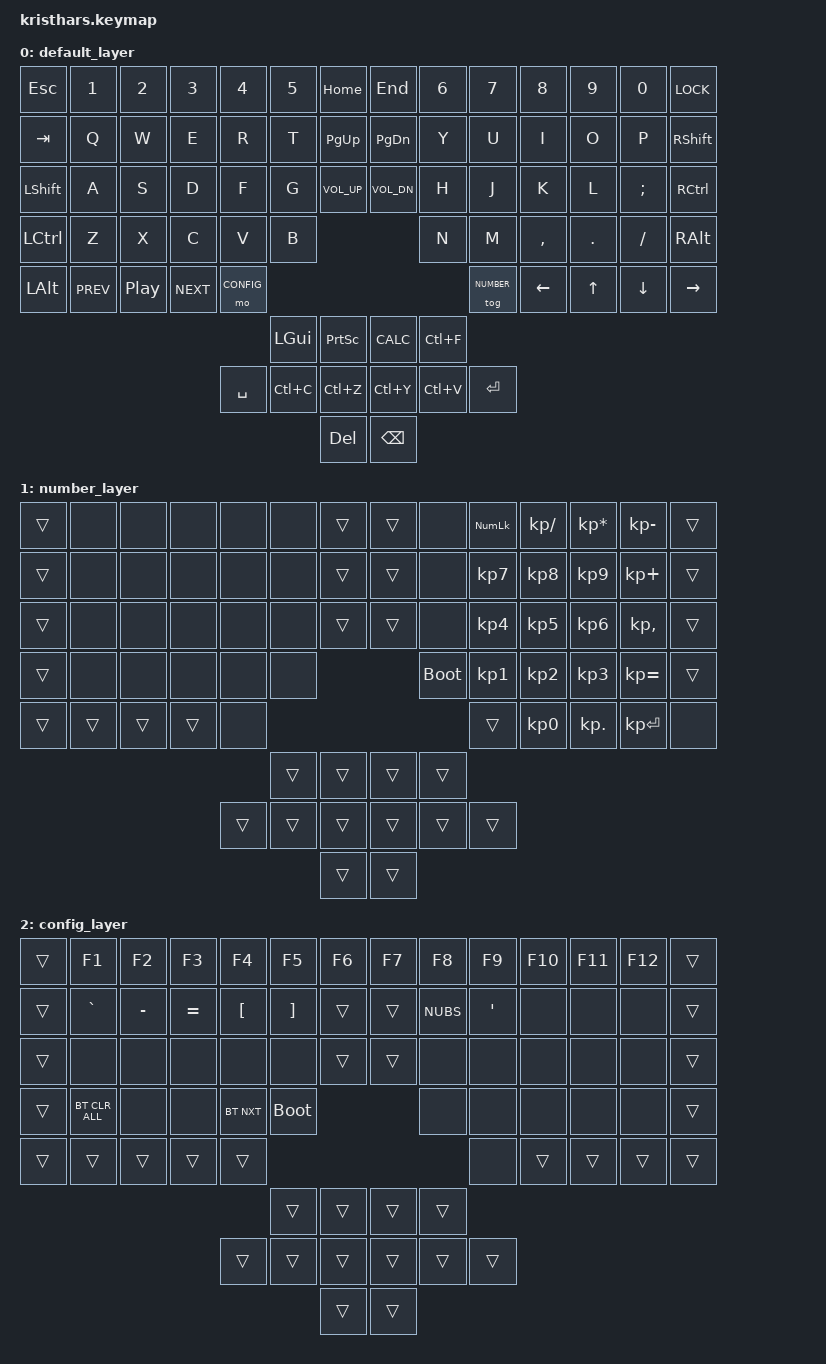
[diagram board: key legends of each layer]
// Kristhars Keymap - Ergodox EZ style split keyboard
// https://zmk.dev/docs/development/hardware-integration/new-shield

#include <behaviors.dtsi>
#include <dt-bindings/zmk/keys.h>
#include <dt-bindings/zmk/bt.h>

#define DEFAULT 0
#define NUMBER 1
#define CONFIG 2

/ {
    keymap {
        compatible = "zmk,keymap";

        default_layer {
            bindings = <
                //╭──────────┬──────────┬──────────┬──────────┬──────────┬──────────┬──────────╮   ╭──────────┬──────────┬──────────┬──────────┬──────────┬──────────┬──────────╮
                //│  Esc     │  1       │  2       │  3       │  4       │  5       │  Home    │   │  End     │  6       │  7       │  8       │  9       │  0       │  Lock    │
                    &kp ESC    &kp N1     &kp N2     &kp N3     &kp N4     &kp N5     &kp HOME       &kp END    &kp N6     &kp N7     &kp N8     &kp N9     &kp N0     &kp K_LOCK
                //├──────────┼──────────┼──────────┼──────────┼──────────┼──────────┼──────────┤   ├──────────┼──────────┼──────────┼──────────┼──────────┼──────────┼──────────┤
                //│  Tab     │  Q       │  W       │  E       │  R       │  T       │  PageU   │   │  PageD   |  Y       │  U       │  I       │  O       │  P       │  RShift  │
                    &kp TAB    &kp Q      &kp W      &kp E      &kp R      &kp T      &kp PG_UP      &kp PG_DN  &kp Y      &kp U      &kp I      &kp O      &kp P      &kp RSHFT
                //├──────────┼──────────┼──────────┼──────────┼──────────┼──────────┼──────────┤   ├──────────┼──────────┼──────────┼──────────┼──────────┼──────────┼──────────┤
                //│  LShift  │  A       │  S       │  D       │  F       │  G       │  VolU    │   │  VolD    |  H       │  J       │  K       │  L       │  Ñ       │  RCtrl   │
                    &kp LSHFT  &kp A      &kp S      &kp D      &kp F      &kp G      &kp C_VOL_UP   &kp C_VOL_DN &kp H    &kp J      &kp K      &kp L      &kp SEMI   &kp RCTRL
                //├──────────┼──────────┼──────────┼──────────┼──────────┼──────────┼──────────╯   ╰──────────┼──────────┼──────────┼──────────┼──────────┼──────────┼──────────┤
                //│  LCtrl   │  Z       │  X       │  C       │  V       │  B       │                         |  N       │  M       │  ;       │  .       │  -       │  RAlt    │
                    &kp LCTRL  &kp Z      &kp X      &kp C      &kp V      &kp B                                &kp N      &kp M      &kp COMMA  &kp DOT    &kp FSLH   &kp RALT
                //├──────────┼──────────┼──────────┼──────────┼──────────┼──────────╯                         ╰──────────┼──────────┼──────────┼──────────┼──────────┼──────────┤
                //│  LAlt    │  |<<     │  |>      │  >>|     │  MO(2)   │                                               │  TG(1)   │  LEFT    │  UP      │  DOWN    │  RIGHT   │
                    &kp LALT   &kp C_PREV &kp C_PP   &kp C_NEXT &mo CONFIG                                                &tog NUMBER &kp LEFT   &kp UP     &kp DOWN   &kp RIGHT
                //╰──────────┴──────────┴──────────┴──────────┴──────────╯                                               ╰──────────┴──────────┴──────────┴──────────┴──────────╯
                //                                                       ╭──────────┬──────────╮   ╭──────────┬──────────╮
                //                                                       │  Win     │  PrtSc   │   │  Calc    │  Find    │
                                                                          &kp LGUI   &kp PSCRN      &kp K_CALC &kp LC(F)
                //                                            ╭──────────┼──────────┼──────────┤   ├──────────┼──────────┼──────────╮
                //                                            |  Space   |  Copy    |  Undo    |   |  Redo    |  Paste   |  Return  |
                                                               &kp SPACE  &kp LC(C)  &kp LC(Z)      &kp LC(Y)  &kp LC(V)  &kp RET
                //                                            ╰──────────┴──────────┼──────────┤   ├──────────┼──────────┴──────────╯
                //                                                                  │  Delete  │   │  Bksp    │
                                                                                     &kp DEL        &kp BSPC
                //                                                                  ╰──────────╯   ╰──────────╯
            >;
        };

        number_layer {
            bindings = <
                //╭──────────┬──────────┬──────────┬──────────┬──────────┬──────────┬──────────╮   ╭──────────┬──────────┬──────────┬──────────┬──────────┬──────────┬──────────╮
                    &trans     &none      &none      &none      &none      &none      &trans         &trans     &none       &kp KP_NUM &kp KP_SLASH &kp KP_MULTIPLY &kp KP_MINUS &trans
                //├──────────┼──────────┼──────────┼──────────┼──────────┼──────────┼──────────┤   ├──────────┼──────────┼──────────┼──────────┼──────────┼──────────┼──────────┤
                    &trans     &none      &none      &none      &none      &none      &trans         &trans     &none       &kp KP_N7  &kp KP_N8    &kp KP_N9       &kp KP_PLUS  &trans
                //├──────────┼──────────┼──────────┼──────────┼──────────┼──────────┼──────────┤   ├──────────┼──────────┼──────────┼──────────┼──────────┼──────────┼──────────┤
                    &trans     &none      &none      &none      &none      &none      &trans         &trans     &none       &kp KP_N4  &kp KP_N5    &kp KP_N6       &kp KP_COMMA &trans
                //├──────────┼──────────┼──────────┼──────────┼──────────┼──────────┼──────────╯   ╰──────────┼──────────┼──────────┼──────────┼──────────┼──────────┼──────────┤
                    &trans     &none      &none      &none      &none      &none                                &bootloader &kp KP_N1  &kp KP_N2    &kp KP_N3       &kp KP_EQUAL &trans
                //├──────────┼──────────┼──────────┼──────────┼──────────┼──────────╯                         ╰──────────┼──────────┼──────────┼──────────┼──────────┼──────────┤
                    &trans     &trans     &trans     &trans     &none                                                       &trans     &kp KP_N0    &kp KP_DOT      &kp KP_ENTER &none
                //╰──────────┴──────────┴──────────┴──────────┴──────────╯                                               ╰──────────┴──────────┴──────────┴──────────┴──────────╯
                //                                                       ╭──────────┬──────────╮   ╭──────────┬──────────╮
                                                                          &trans     &trans         &trans     &trans
                //                                            ╭──────────┼──────────┼──────────┤   ├──────────┼──────────┼──────────╮
                                                               &trans     &trans     &trans         &trans     &trans     &trans
                //                                            ╰──────────┴──────────┼──────────┤   ├──────────┼──────────┴──────────╯
                                                                                     &trans         &trans
                //                                                                  ╰──────────╯   ╰──────────╯
            >;
        };

        config_layer {
            bindings = <
                //╭──────────┬──────────┬──────────┬──────────┬──────────┬──────────┬──────────╮   ╭──────────┬──────────┬──────────┬──────────┬──────────┬──────────┬──────────╮
                    &trans     &kp F1     &kp F2     &kp F3     &kp F4     &kp F5     &kp F6         &kp F7     &kp F8     &kp F9     &kp F10    &kp F11    &kp F12    &trans
                //├──────────┼──────────┼──────────┼──────────┼──────────┼──────────┼──────────┤   ├──────────┼──────────┼──────────┼──────────┼──────────┼──────────┼──────────┤
                    &trans     &kp GRAVE  &kp MINUS  &kp EQUAL  &kp LBKT   &kp RBKT   &trans         &trans     &kp NUBS   &kp APOS   &none      &none      &none      &trans
                //├──────────┼──────────┼──────────┼──────────┼──────────┼──────────┼──────────┤   ├──────────┼──────────┼──────────┼──────────┼──────────┼──────────┼──────────┤
                    &trans     &none      &none      &none      &none      &none      &trans         &trans     &none      &none      &none      &none      &none      &trans
                //├──────────┼──────────┼──────────┼──────────┼──────────┼──────────┼──────────╯   ╰──────────┼──────────┼──────────┼──────────┼──────────┼──────────┼──────────┤
                    &trans   &bt BT_CLR_ALL &none    &none      &bt BT_NXT &bootloader                          &none      &none      &none      &none      &none      &trans
                //├──────────┼──────────┼──────────┼──────────┼──────────┼──────────╯                         ╰──────────┼──────────┼──────────┼──────────┼──────────┼──────────┤
                    &trans     &trans     &trans     &trans     &trans                                                     &none      &trans     &trans     &trans     &trans
                //╰──────────┴──────────┴──────────┴──────────┴──────────╯                                               ╰──────────┴──────────┴──────────┴──────────┴──────────╯
                //                                                       ╭──────────┬──────────╮   ╭──────────┬──────────╮
                                                                          &trans     &trans         &trans     &trans
                //                                            ╭──────────┼──────────┼──────────┤   ├──────────┼──────────┼──────────╮
                                                               &trans     &trans     &trans         &trans     &trans     &trans
                //                                            ╰──────────┴──────────┼──────────┤   ├──────────┼──────────┴──────────╯
                                                                                     &trans         &trans
                //                                                                  ╰──────────╯   ╰──────────╯
            >;
        };
    };
};
